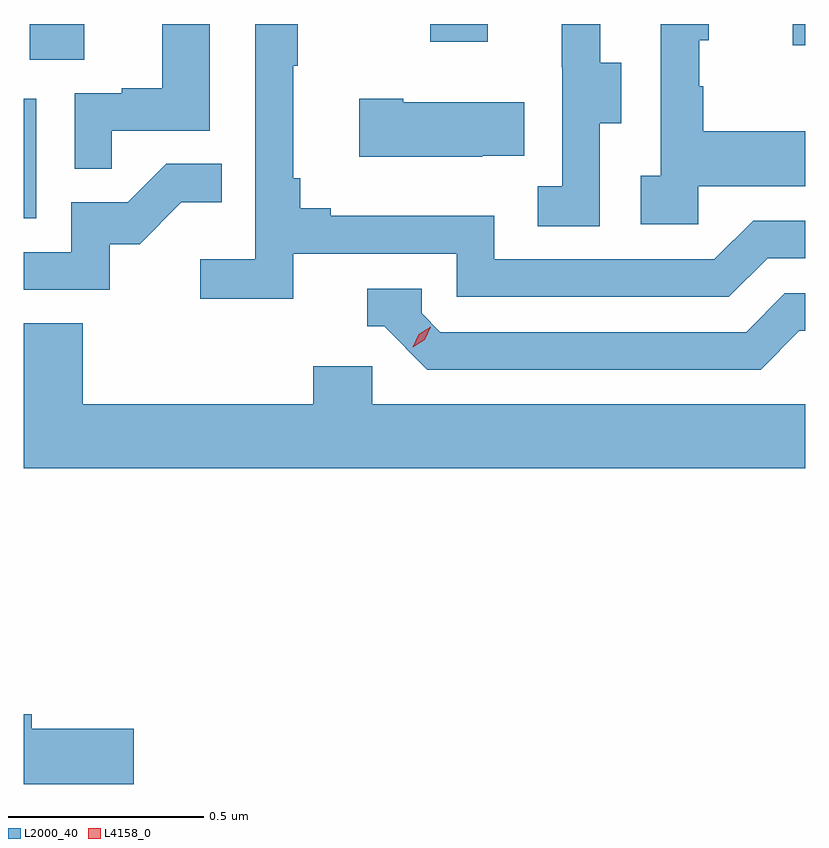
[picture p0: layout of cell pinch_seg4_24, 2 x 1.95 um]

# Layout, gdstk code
import gdstk
lib = gdstk.Library(unit=1e-6, precision=1e-09)
def R(c, l, rs):  # rectangles x0, y0, x1, y1
    for r in rs: c.add(gdstk.rectangle(r[:2], r[2:], *l))
def P(c, l, *ps):  # polygons
    for p in ps: c.add(gdstk.Polygon(p, *l))
L2000_40 = (2000, 40)
L4158_0 = (4158, 0)

pinch_seg4_24 = lib.new_cell('pinch_seg4_24')
R(pinch_seg4_24, L2000_40, [(1089.86,826.764,1089.892,827.071), (1089.875,827.17,1090.015,827.262), (1091.828,827.208,1091.86,827.262), (1090.9,827.217,1091.047,827.262)])
P(pinch_seg4_24, L2000_40, [(1090.55,826.674),(1090.968,826.674),(1090.968,826.563),(1091.665,826.563),(1091.764,826.662),(1091.86,826.662),(1091.86,826.758),(1091.727,826.758),(1091.628,826.659),(1091.064,826.659),(1091.064,826.771),(1090.645,826.771),(1090.645,826.79),(1090.568,826.79),(1090.568,826.867),(1090.549,826.867),(1090.549,827.155),(1090.561,827.155),(1090.561,827.262),(1090.452,827.262),(1090.452,826.66),(1090.311,826.66),(1090.311,826.558),(1090.55,826.558)],
  [(1090.085,826.989),(1090.336,826.989),(1090.336,827.262),(1090.214,827.262),(1090.214,827.098),(1090.111,827.098),(1090.111,827.085),(1089.99,827.085),(1089.99,826.891),(1090.085,826.891)],
  [(1091.334,827.008),(1091.389,827.008),(1091.389,827.163),(1091.335,827.163),(1091.335,827.262),(1091.237,827.262),(1091.237,827.151),(1091.238,827.151),(1091.238,826.847),(1091.175,826.847),(1091.175,826.744),(1091.334,826.744)],
  [(1091.586,826.847),(1091.86,826.847),(1091.86,826.987),(1091.599,826.987),(1091.599,827.102),(1091.589,827.102),(1091.589,827.22),(1091.614,827.22),(1091.614,827.262),(1091.49,827.262),(1091.49,826.874),(1091.439,826.874),(1091.439,826.749),(1091.586,826.749)],
  [(1091.033,826.925),(1091.141,826.925),(1091.141,827.062),(1090.831,827.062),(1090.831,827.07),(1090.719,827.07),(1090.719,826.922),(1091.033,826.922)],
  [(1090.08,826.698),(1090.156,826.698),(1090.263,826.805),(1090.367,826.805),(1090.367,826.904),(1090.224,826.904),(1090.126,826.806),(1089.981,826.806),(1089.981,826.677),(1089.86,826.677),(1089.86,826.581),(1090.08,826.581)],
  [(1091.845,826.476),(1091.86,826.476),(1091.86,826.572),(1091.808,826.572),(1091.709,826.473),(1090.926,826.473),(1090.878,826.521),(1090.878,826.584),(1090.739,826.584),(1090.739,826.488),(1090.782,826.488),(1090.893,826.377),(1091.746,826.377)],
  [(1091.86,826.288),(1090.752,826.288),(1090.752,826.386),(1090.601,826.386),(1090.601,826.288),(1090.01,826.288),(1090.01,826.496),(1089.86,826.496),(1089.86,826.124),(1091.86,826.124)],
  [(1090.141,825.458),(1089.88,825.458),(1089.88,825.494),(1089.86,825.494),(1089.86,825.316),(1090.141,825.316)])
P(pinch_seg4_24, L4158_0, [(1090.856,826.434),(1090.856,826.434),(1090.871,826.467),(1090.902,826.487),(1090.902,826.487),(1090.902,826.487),(1090.886,826.454),(1090.856,826.434)])

lib.write_gds('pinch_seg4_24.gds')
